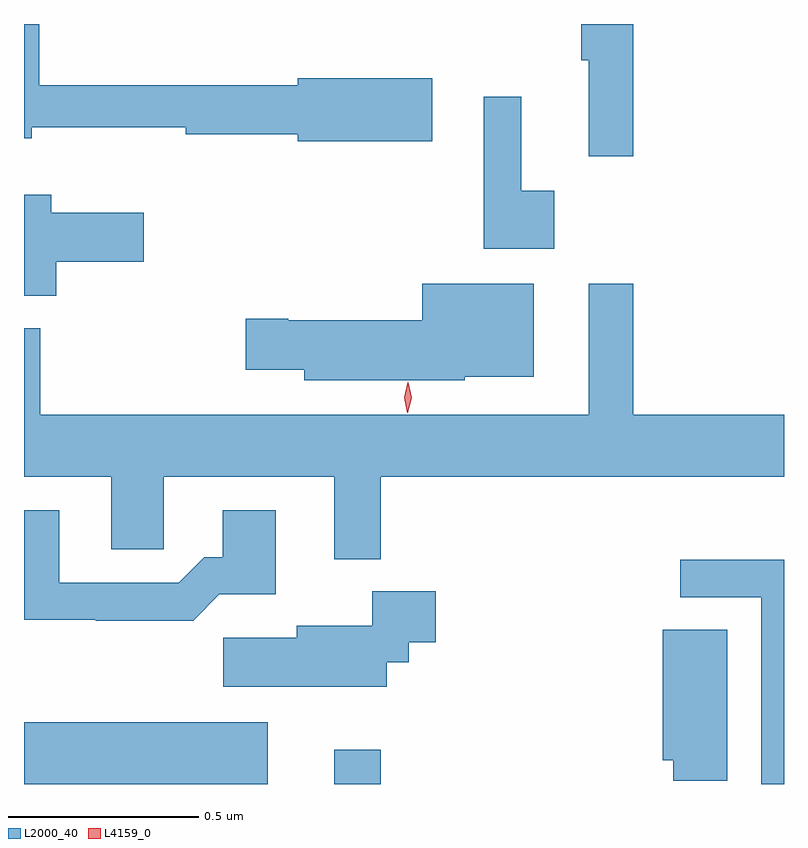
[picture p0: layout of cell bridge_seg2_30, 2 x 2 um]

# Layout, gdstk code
import gdstk
lib = gdstk.Library(unit=1e-6, precision=1e-09)
def R(c, l, rs):  # rectangles x0, y0, x1, y1
    for r in rs: c.add(gdstk.rectangle(r[:2], r[2:], *l))
def P(c, l, *ps):  # polygons
    for p in ps: c.add(gdstk.Polygon(p, *l))
L2000_40 = (2000, 40)
L4159_0 = (4159, 0)

bridge_seg2_30 = lib.new_cell('bridge_seg2_30')
R(bridge_seg2_30, L2000_40, [(820.984,664.144,821.626,664.306), (821.801,664.144,821.923,664.234)])
P(bridge_seg2_30, L2000_40, [(822.058,666.001),(821.705,666.001),(821.705,665.983),(821.024,665.983),(821.024,666.144),(820.984,666.144),(820.984,665.843),(821.005,665.843),(821.005,665.872),(821.409,665.872),(821.409,665.854),(821.705,665.854),(821.705,665.836),(822.058,665.836)],
  [(822.587,666.144),(822.451,666.144),(822.451,666.048),(822.47,666.048),(822.47,665.796),(822.587,665.796)],
  [(822.379,665.705),(822.293,665.705),(822.293,665.953),(822.194,665.953),(822.194,665.552),(822.379,665.552)],
  [(821.069,665.518),(821.299,665.518),(821.299,665.647),(821.056,665.647),(821.056,665.695),(820.984,665.695),(820.984,665.429),(821.069,665.429)],
  [(821.923,664.952),(822.984,664.952),(822.984,665.116),(822.587,665.116),(822.587,665.461),(822.47,665.461),(822.47,665.116),(821.027,665.116),(821.027,665.344),(820.984,665.344),(820.984,664.952),(821.213,664.952),(821.213,664.762),(821.352,664.762),(821.352,664.952),(821.801,664.952),(821.801,664.736),(821.923,664.736)],
  [(822.144,665.216),(822.325,665.216),(822.325,665.461),(822.032,665.461),(822.032,665.364),(821.68,665.364),(821.68,665.369),(821.568,665.369),(821.568,665.234),(821.721,665.234),(821.721,665.207),(822.144,665.207)],
  [(821.498,664.643),(821.647,664.643),(821.647,664.864),(821.507,664.864),(821.507,664.741),(821.458,664.741),(821.391,664.674),(821.077,664.674),(821.077,664.864),(820.984,664.864),(820.984,664.576),(821.173,664.576),(821.173,664.574),(821.429,664.574)],
  [(822.984,664.734),(822.711,664.734),(822.711,664.635),(822.924,664.635),(822.924,664.144),(822.984,664.144)],
  [(821.938,664.464),(821.997,664.464),(821.997,664.517),(822.067,664.517),(822.067,664.651),(821.901,664.651),(821.901,664.56),(821.702,664.56),(821.702,664.529),(821.508,664.529),(821.508,664.4),(821.938,664.4)],
  [(822.835,664.55),(822.665,664.55),(822.665,664.206),(822.692,664.206),(822.692,664.153),(822.835,664.153)])
P(bridge_seg2_30, L4159_0, [(821.993,665.121),(821.984,665.161),(821.994,665.201),(821.994,665.201),(821.995,665.201),(822.004,665.161),(821.994,665.121),(821.994,665.121)])

lib.write_gds('bridge_seg2_30.gds')
